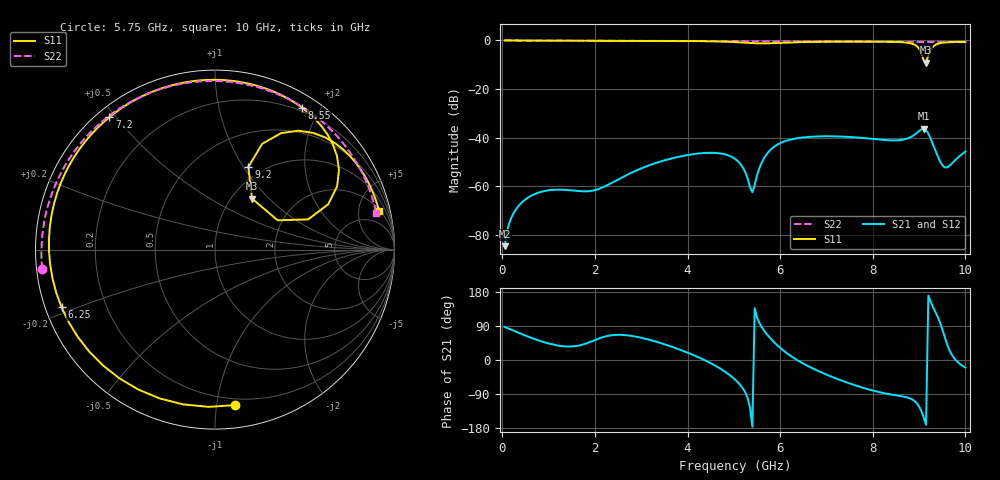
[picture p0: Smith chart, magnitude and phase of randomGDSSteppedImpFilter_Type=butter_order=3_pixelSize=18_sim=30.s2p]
! freq	dB(S11)	phase(S11)	dB(S12)	phase(S12)
!  dB(S21)	phase(S21)	dB(S22)	phase(S22)
!S-par simulation data
#  GHz  S  DB  R 50
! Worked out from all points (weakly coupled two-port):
!   200 points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, 50 MHz to 10 GHz, reference 50 ohm
!   highest |S21| = -36.28 dB at 9.1 GHz (marker M1); lowest = -84.6 dB at 50 MHz (marker M2)
!   lowest |S11| = -9.1 dB at 9.15 GHz (marker M3), VSWR 2.08, Z = 61.7 + j40 ohm
!   |S11| at or under -10 dB: nowhere
!   |S22| runs from -0.7 to 0.0 dB; largest |S21 - S12| = 0
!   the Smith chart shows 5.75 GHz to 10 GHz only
!   S11 on the Smith chart (normalised r, x): 5.75 GHz: 0.15, -1.13; 6.25 GHz: 0.05, -0.18; 7.2 GHz: 0.04, +0.48; 8.55 GHz: 0.16, +1.77; 9.2 GHz: 0.86, +1.05; 10 GHz: 2.17, +7.97
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0.05  -0.00 -3.7  -84.64 87.4  -84.64 87.4  -0.00 -1.7
0.6  -0.06 -42.7  -64.15 59.7  -64.15 59.7  -0.03 -20.0
1.15  -0.09 -78.2  -61.40 39.3  -61.40 39.3  -0.05 -38.1
1.75  -0.12 -111.9  -62.11 41.2  -62.11 41.2  -0.07 -57.2
2.6  -0.15 -152.7  -56.19 66.2  -56.19 66.2  -0.10 -83.2
3.4  -0.18 171.4  -49.90 45.4  -49.90 45.4  -0.14 -106.6
4.3  -0.30 123.8  -46.40 3.6  -46.40 3.6  -0.18 -132.1
4.75  -0.46 88.2  -46.62 -26.0  -46.62 -26.0  -0.20 -144.8
5.05  -0.69 53.0  -49.08 -54.5  -49.08 -54.5  -0.22 -153.3
5.4  -1.08 -8.0  -62.49 -176.1  -62.49 -176.1  -0.25 -163.3
5.75  -1.17 -82.6  -45.85 62.5  -45.85 62.5  -0.28 -173.6
6.25  -0.79 -159.4  -40.66 8.9  -40.66 8.9  -0.32 171.2
6.7  -0.59 160.2  -39.59 -22.1  -39.59 -22.1  -0.36 156.7
7.2  -0.50 128.6  -39.47 -48.4  -39.47 -48.4  -0.41 139.5
8.35  -0.55 69.5  -41.07 -90.1  -41.07 -90.1  -0.53 93.8
8.55  -0.65 58.5  -41.07 -94.1  -41.07 -94.1  -0.56 84.8
8.95  -2.31 27.4  -38.06 -114.1  -38.06 -114.1  -0.60 66.0
9.1  -8.28 25.1  -36.28 -151.6  -36.28 -151.6  -0.61 58.7
9.15  -9.09 54.0  -36.85 -171.1  -36.85 -171.1  -0.62 56.2
9.2  -6.07 68.0  -38.34 169.9  -38.34 169.9  -0.62 53.7
9.55  -0.86 38.1  -52.21 62.2  -52.21 62.2  -0.66 36.0
10  -0.55 13.3  -45.74 -19.9  -45.74 -19.9  -0.71 12.6
